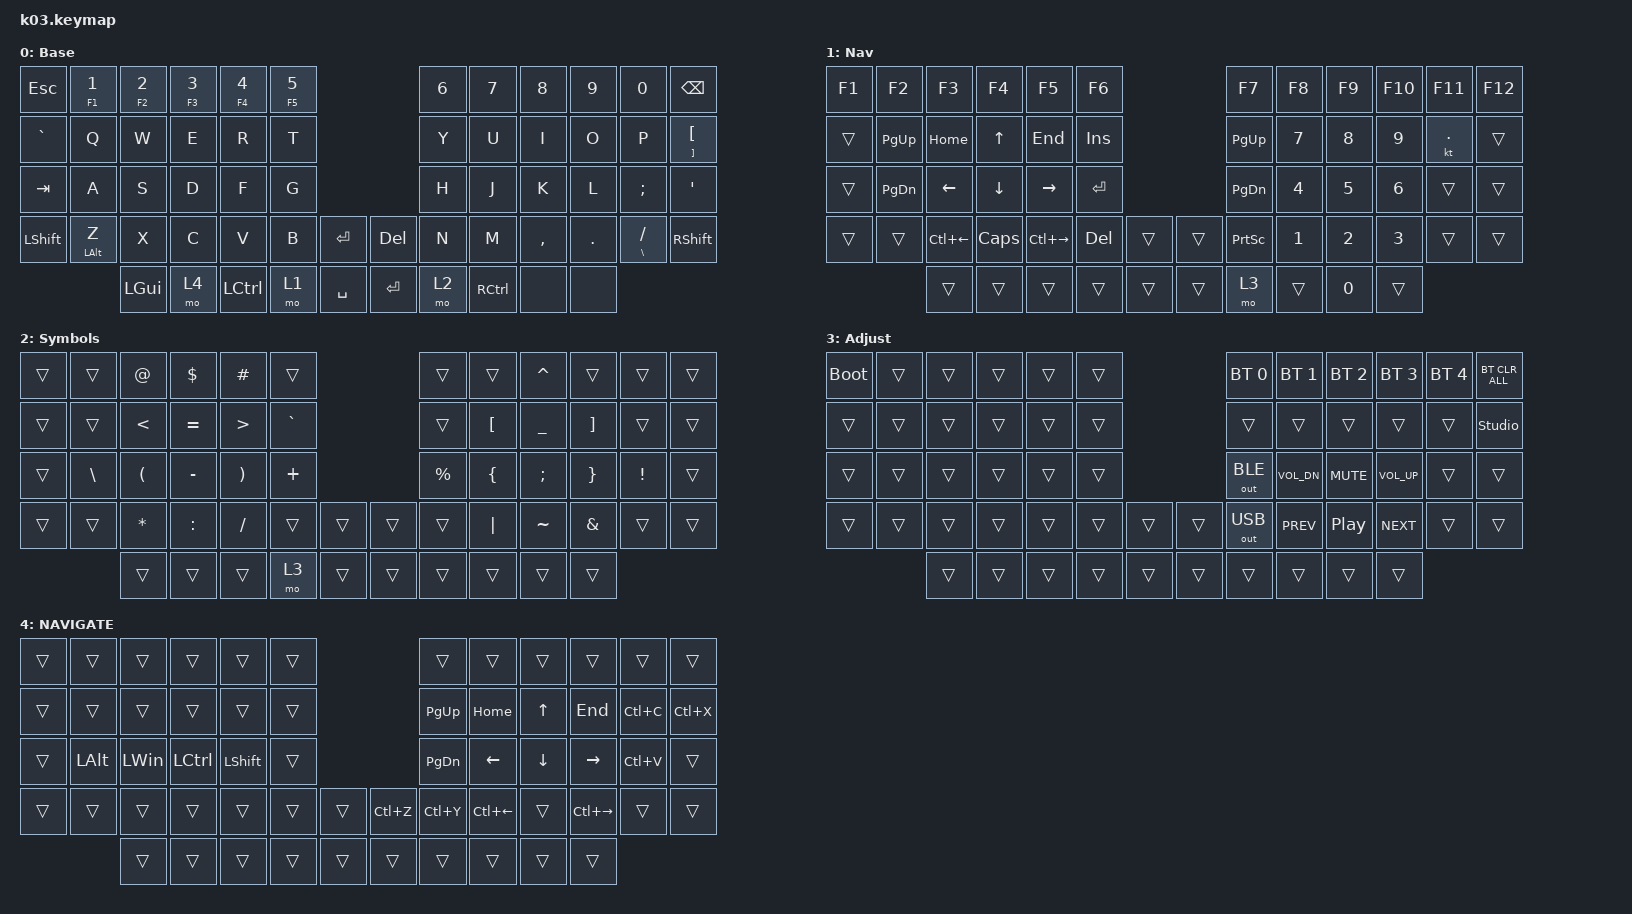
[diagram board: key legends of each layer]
#include "keys_ru.h"
#include <behaviors.dtsi>
#include <dt-bindings/zmk/bt.h>
#include <dt-bindings/zmk/keys.h>
#include <dt-bindings/zmk/outputs.h>

/ {
    keymap {
        compatible = "zmk,keymap";

        base {
            bindings = <
&kp ESC    &mt F1 N1       &mt F2 N2  &mt F3 N3  &mt F4 N4  &mt F5 N5                           &kp N6  &kp N7     &kp N8     &kp N9   &kp N0         &kp BSPC
&kp GRAVE  &kp Q           &kp W      &kp E      &kp R      &kp T                               &kp Y   &kp U      &kp I      &kp O    &kp P          &mt RIGHT_BRACKET LEFT_BRACKET
&kp TAB    &kp A           &kp S      &kp D      &kp F      &kp G                               &kp H   &kp J      &kp K      &kp L    &kp SEMI       &kp SQT
&kp LSHFT  &mt LEFT_ALT Z  &kp X      &kp C      &kp V      &kp B      &kp ENTER    &kp DELETE  &kp N   &kp M      &kp COMMA  &kp DOT  &mt BSLH FSLH  &kp RSHFT
                           &kp LGUI   &mo 4      &kp LCTRL  &mo 1      &kp SPACE    &kp ENTER   &mo 2   &kp RCTRL  &none      &none
            >;

            display-name = "Base";
        };

        nav {
            bindings = <
&kp F1  &kp F2     &kp F3        &kp F4    &kp F5         &kp F6                     &kp F7           &kp F8  &kp F9  &kp F10  &kp F11  &kp F12
&trans  &kp PG_UP  &kp HOME      &kp UP    &kp END        &kp INS                    &kp PG_UP        &kp N7  &kp N8  &kp N9   &kt DOT  &trans
&trans  &kp PG_DN  &kp LEFT      &kp DOWN  &kp RIGHT      &kp RET                    &kp PG_DN        &kp N4  &kp N5  &kp N6   &trans   &trans
&trans  &trans     &kp LC(LEFT)  &kp CAPS  &kp LC(RIGHT)  &kp DEL  &trans    &trans  &kp PRINTSCREEN  &kp N1  &kp N2  &kp N3   &trans   &trans
                   &trans        &trans    &trans         &trans   &trans    &trans  &mo 3            &trans  &kp N0  &trans
            >;

            display-name = "Nav";
        };

        sym {
            bindings = <
&trans  &trans    &kp AT    &kp DLLR   &kp HASH  &trans                       &trans     &trans    &kp CARET  &trans    &trans    &trans
&trans  &trans    &kp LT    &kp EQUAL  &kp GT    &kp GRAVE                    &trans     &kp LBKT  &kp UNDER  &kp RBKT  &trans    &trans
&trans  &kp BSLH  &kp LPAR  &kp MINUS  &kp RPAR  &kp PLUS                     &kp PRCNT  &kp LBRC  &kp SEMI   &kp RBRC  &kp EXCL  &trans
&trans  &trans    &kp STAR  &kp COLON  &kp FSLH  &trans     &trans    &trans  &trans     &kp PIPE  &kp TILDE  &kp AMPS  &trans    &trans
                  &trans    &trans     &trans    &mo 3      &trans    &trans  &trans     &trans    &trans     &trans
            >;

            display-name = "Symbols";
        };

        adj {
            bindings = <
&bootloader  &trans  &trans  &trans  &trans  &trans                    &bt BT_SEL 0  &bt BT_SEL 1  &bt BT_SEL 2      &bt BT_SEL 3  &bt BT_SEL 4  &bt BT_CLR_ALL
&trans       &trans  &trans  &trans  &trans  &trans                    &trans        &trans        &trans            &trans        &trans        &studio_unlock
&trans       &trans  &trans  &trans  &trans  &trans                    &out OUT_BLE  &kp C_VOL_DN  &kp C_MUTE        &kp C_VOL_UP  &trans        &trans
&trans       &trans  &trans  &trans  &trans  &trans  &trans    &trans  &out OUT_USB  &kp C_PREV    &kp C_PLAY_PAUSE  &kp C_NEXT    &trans        &trans
                     &trans  &trans  &trans  &trans  &trans    &trans  &trans        &trans        &trans            &trans
            >;

            display-name = "Adjust";
        };

        NAVIGATE {
            bindings = <
&trans  &trans        &trans        &trans     &trans          &trans                       &trans     &trans              &trans    &trans               &trans     &trans
&trans  &trans        &trans        &trans     &trans          &trans                       &kp PG_UP  &kp HOME            &kp UP    &kp END              &kp LC(C)  &kp LC(X)
&trans  &kp LEFT_ALT  &kp LEFT_WIN  &kp LCTRL  &kp LEFT_SHIFT  &trans                       &kp PG_DN  &kp LEFT            &kp DOWN  &kp RIGHT            &kp LC(V)  &trans
&trans  &trans        &trans        &trans     &trans          &trans  &trans    &kp LC(Z)  &kp LC(Y)  &kp LC(LEFT_ARROW)  &trans    &kp LC(RIGHT_ARROW)  &trans     &trans
                      &trans        &trans     &trans          &trans  &trans    &trans     &trans     &trans              &trans    &trans
            >;
        };
    };
};
